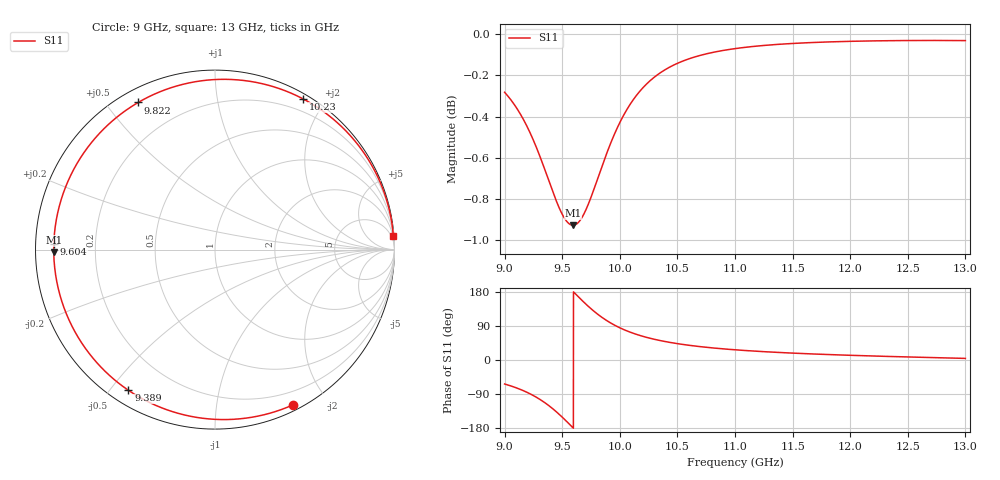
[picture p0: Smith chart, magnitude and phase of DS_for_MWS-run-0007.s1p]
! TOUCHSTONE file generated by CST DESIGN STUDIO
! Date and time: Tue Feb  4 17:08:12 2025
! Project name: C:\Work\MatlabApps\UnitCellOptimizationMatlab\CST\unitcell.cst
! Tree item: Tasks\Sweep1\SPara1\S-Parameters
! Header version: 2024
! Port assignment regex: !\s*Touchstone port\s*([0-9]+)\s*=\s*(CST MWS port|CST DES external port|CST DES block port)\s*(.+)\s* \(\"(.*)\"\)(\s*mode\s*([0-9]+))?.*
! Touchstone port assignment:
! Touchstone port 1 = CST DES external port 1 ("")
# GHz S MA R 50
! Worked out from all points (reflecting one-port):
!   4001 points, 9 GHz to 13 GHz, reference 50 ohm
!   lowest |S11| = -0.9 dB at 9.594 GHz (marker M1), VSWR 18.73, Z = 2.67 - j0.415 ohm
!   phase of S11 starts at -63 deg and turns -292 deg over the sweep
!   S11 on the Smith chart (normalised r, x): 9 GHz: 0.06, -1.62; 9.389 GHz: 0.05, -0.56; 9.604 GHz: 0.05, +0.02; 9.822 GHz: 0.05, +0.60; 10.23 GHz: 0.06, +1.74; 13 GHz: 1, +27
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9  0.9681 -63.3
9.048  0.9645 -67.8
9.118  0.9582 -75.4
9.237  0.9442 -91.8
9.318  0.9321 -106.2
9.389  0.9205 -121.6
9.444  0.9117 -135.3
9.5  0.9042 -150.8
9.548  0.9 -165.0
9.594  0.8986 -179.0
9.604  0.8987 177.9
9.66  0.9015 160.8
9.721  0.9085 143.1
9.771  0.9162 129.8
9.822  0.9248 117.6
9.862  0.9316 108.9
9.904  0.9383 100.7
10  0.9518 85.0
10.111  0.9635 71.1
10.232  0.9725 59.8
10.356  0.9789 50.9
10.5  0.9839 43.2
10.72  0.9886 34.5
11  0.992 26.9
11.5  0.9949 18.2
12  0.9961 12.4
12.5  0.9965 8.0
13  0.9965 4.2
